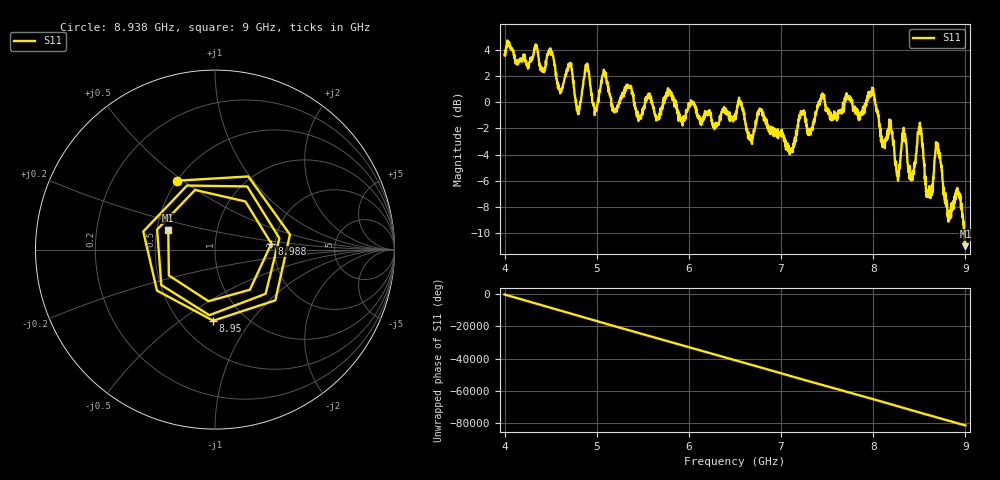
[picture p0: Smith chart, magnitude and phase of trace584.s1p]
! Created with skrf 1.8.0 (http://scikit-rf.org).
# Hz S RI R 50.0
!freq ReS11 ImS11
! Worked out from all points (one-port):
!   1601 points, 4 GHz to 9 GHz, reference 50 ohm
!   lowest |S11| = -11.0 dB at 9 GHz (marker M1), VSWR 1.79, Z = 28.8 + j6.83 ohm
!   |S11| at or under -10 dB: 8.98656 GHz to end of sweep
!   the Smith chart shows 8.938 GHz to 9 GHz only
!   S11 on the Smith chart (normalised r, x): 8.938 GHz: 0.50, +0.47; 8.95 GHz: 0.72, -0.67; 8.988 GHz: 1.91, +0.14; 9 GHz: 0.58, +0.14
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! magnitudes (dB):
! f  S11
! 4 GHz  3.6
! 4.5 GHz  4.1
! 4.625 GHz  1.1
! 4.712 GHz  2.9
! 4.803 GHz  -0.9
! 4.894 GHz  2.7
! 4.978 GHz  -1.0
! 5.078 GHz  2.5
! 5.25 GHz  0.2
! 5.875 GHz  -0.6
! 6.5 GHz  -1.3
! 7.125 GHz  -3.5
! 7.231 GHz  -0.9
! 7.75 GHz  0.2
! 7.988 GHz  1.1
! 8.194 GHz  -2.1
! 8.259 GHz  -5.5
! 8.331 GHz  -1.9
! 8.375 GHz  -4.7
! 8.428 GHz  -5.6
! 8.506 GHz  -1.6
! 8.597 GHz  -7.0
! 8.7 GHz  -3.3
! 8.812 GHz  -8.4
! 8.938 GHz  -7.2
! 8.95 GHz  -8.0
! 8.988 GHz  -10.0
! 9 GHz  -11.0
